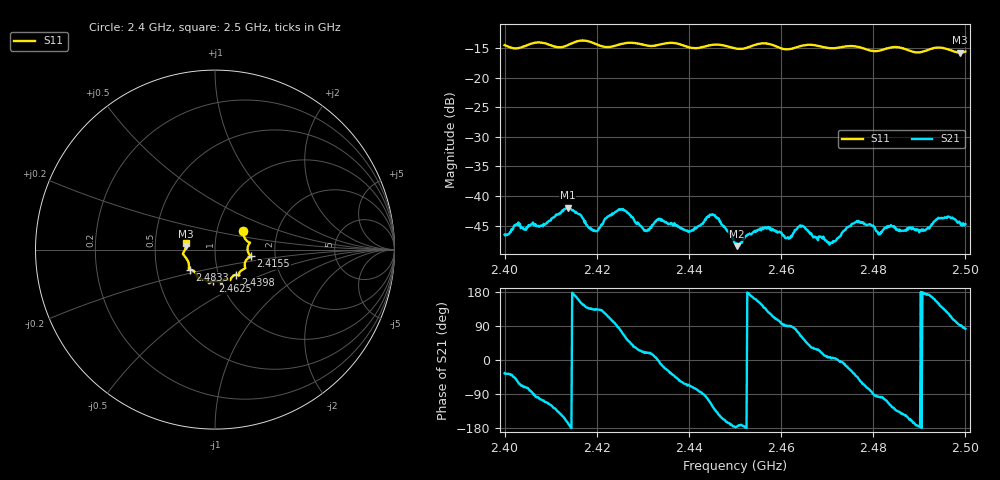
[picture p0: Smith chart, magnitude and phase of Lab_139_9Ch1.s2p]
# Hz S RI R 50
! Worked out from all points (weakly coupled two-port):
!   601 points, 2.4 GHz to 2.5 GHz, reference 50 ohm
!   highest |S21| = -41.98 dB at 2.4137 GHz (marker M1); lowest = -48.5 dB at 2.4503 GHz (marker M2)
!   lowest |S11| = -15.7 dB at 2.4988 GHz (marker M3), VSWR 1.39, Z = 36 + j1.38 ohm
!   |S11| at or under -10 dB: start of sweep to end of sweep
!   S12 and S22 are empty: the file has one direction only
!   S11 on the Smith chart (normalised r, x): 2.4 GHz: 1.33, +0.29; 2.4155 GHz: 1.49, -0.11; 2.4398 GHz: 1.21, -0.35; 2.4625 GHz: 0.92, -0.34; 2.4833 GHz: 0.74, -0.17; 2.5 GHz: 0.72, +0.06
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2.4e9  0.1563 0.1059  0.00387 -0.00269  0 0  0 0
2.413667e9  0.1874 -0.021  -0.00767 -0.00213  0 0  0 0
2.4155e9  0.1987 -0.0365  -0.00712 0.00167  0 0  0 0
2.416667e9  0.2027 -0.0406  -0.00582 0.00343  0 0  0 0
2.419667e9  0.1889 -0.045  -0.00345 0.00374  0 0  0 0
2.425167e9  0.167 -0.0961  0.00157 0.00754  0 0  0 0
2.4305e9  0.1501 -0.1141  0.00484 0.00172  0 0  0 0
2.433333e9  0.1344 -0.134  0.00627 -0.000176  0 0  0 0
2.439833e9  0.1165 -0.1395  0.00208 -0.00451  0 0  0 0
2.445167e9  0.0851 -0.1701  -0.00385 -0.00583  0 0  0 0
2.45e9  0.0639 -0.1653  -0.00401 -0.00023  0 0  0 0
2.450333e9  0.0606 -0.1655  -0.00375 -0.000219  0 0  0 0
2.456833e9  0.0383 -0.1912  -0.00351 0.00397  0 0  0 0
2.4625e9  -0.0105 -0.1767  0.000232 0.00468  0 0  0 0
2.464333e9  -0.0272 -0.184  0.00247 0.0049  0 0  0 0
2.466667e9  -0.0332 -0.187  0.004 0.0025  0 0  0 0
2.470667e9  -0.0547 -0.1692  0.00396 0.000527  0 0  0 0
2.476333e9  -0.0944 -0.1578  0.00445 -0.00411  0 0  0 0
2.481333e9  -0.1234 -0.1166  -0.000654 -0.00474  0 0  0 0
2.483333e9  -0.1397 -0.1113  -0.00225 -0.0051  0 0  0 0
2.498833e9  -0.1622 0.0186  -8.48e-05 0.00594  0 0  0 0
2.5e9  -0.1623 0.0372  0.000778 0.00572  0 0  0 0
